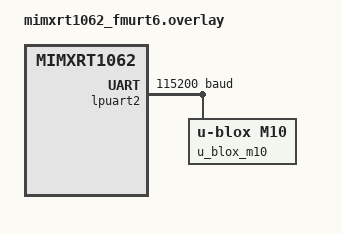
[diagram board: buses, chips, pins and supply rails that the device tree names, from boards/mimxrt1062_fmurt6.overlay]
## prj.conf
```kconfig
# Copyright (c) 2023 Trackunit Corporation
# SPDX-License-Identifier: Apache-2.0

CONFIG_GNSS=y
CONFIG_GNSS_SATELLITES=y
CONFIG_LOG=y
CONFIG_LOG_BUFFER_SIZE=8192
CONFIG_GNSS_DUMP_TO_LOG=y
CONFIG_GNSS_LOG_LEVEL_DBG=y
```

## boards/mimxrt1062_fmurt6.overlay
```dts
/*
 * Copyright 2024 NXP
 *
 * SPDX-License-Identifier: Apache-2.0
 */

/ {
	aliases {
		gnss = &lpuart2;
	};
};

&lpuart2 {
	status = "okay";
	current-speed = <115200>;
	pinctrl-0 = <&pinmux_lpuart2>;
	pinctrl-1 = <&pinmux_lpuart2_sleep>;
	pinctrl-names = "default", "sleep";

	u_blox_m10: u-blox,m10 {
		status = "okay";
		compatible = "u-blox,m10";
		uart-baudrate = <115200>;
	};
};
```

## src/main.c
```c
/*
 * Copyright (c) 2023 Trackunit Corporation
 *
 * SPDX-License-Identifier: Apache-2.0
 */

#include <stdio.h>
#include <zephyr/device.h>
#include <zephyr/drivers/gnss.h>

static void gnss_data_cb(const struct device *dev, const struct gnss_data *data)
{
	if (data->info.fix_status != GNSS_FIX_STATUS_NO_FIX) {
		printf("%s has fix!\r\n", dev->name);
	}
}

GNSS_DATA_CALLBACK_DEFINE(DEVICE_DT_GET(DT_ALIAS(gnss)), gnss_data_cb);

#if CONFIG_GNSS_SATELLITES
static void gnss_satellites_cb(const struct device *dev, const struct gnss_satellite *satellites,
			       uint16_t size)
{
	printf("%s reported %u satellites!\r\n", dev->name, size);
}
#endif

GNSS_SATELLITES_CALLBACK_DEFINE(DEVICE_DT_GET(DT_ALIAS(gnss)), gnss_satellites_cb);

int main(void)
{
	return 0;
}
```
